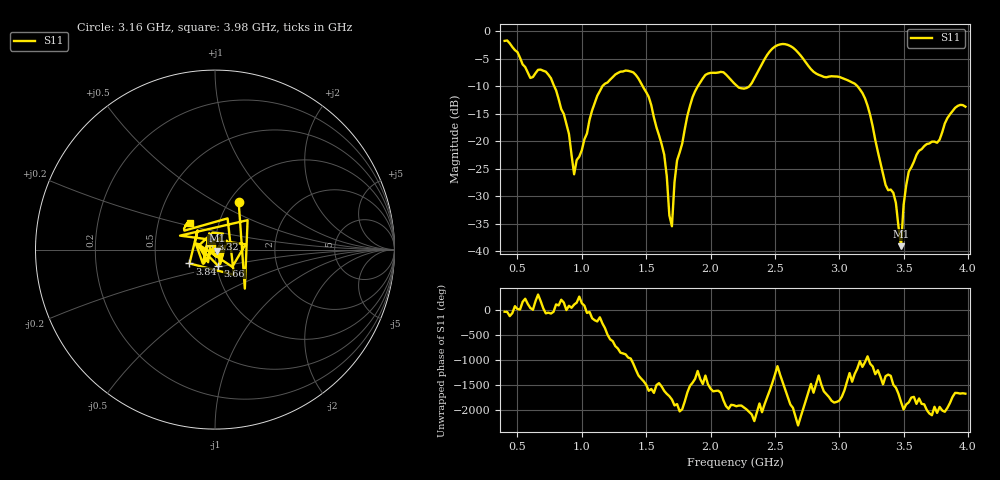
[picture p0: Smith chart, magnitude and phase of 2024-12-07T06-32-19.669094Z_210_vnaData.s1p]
!Created with skrf (http://scikit-rf.org).
# Hz S RI R 50.0
!freq ReS11 ImS11
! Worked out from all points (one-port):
!   180 points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, 400 MHz to 3.98 GHz, reference 50 ohm
!   lowest |S11| = -39.1 dB at 3.48 GHz (marker M1), VSWR 1.02, Z = 50.9 - j0.61 ohm
!   |S11| at or under -10 dB: 785.1 MHz to 1.16 GHz (374.8 MHz wide, 38.5 % of centre); 1.472 GHz to 1.902 GHz (429.3 MHz wide, 25.5 % of centre); 3.141 GHz to end of sweep (the widest 3 of 4)
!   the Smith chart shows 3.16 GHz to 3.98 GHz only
!   S11 on the Smith chart (normalised r, x): 3.16 GHz: 1.11, +0.64; 3.32 GHz: 0.95, +0.11; 3.66 GHz: 1.02, -0.18; 3.84 GHz: 0.74, -0.12; 3.98 GHz: 0.72, +0.23
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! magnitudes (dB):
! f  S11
! 400 MHz  -1.8
! 600 MHz  -8.5
! 740 MHz  -7.9
! 860 MHz  -15.1
! 940 MHz  -26.0
! 1.12 GHz  -11.8
! 1.3 GHz  -7.4
! 1.52 GHz  -12.0
! 1.64 GHz  -22.5
! 1.68 GHz  -33.5
! 1.7 GHz  -35.5
! 1.72 GHz  -27.4
! 1.76 GHz  -22.1
! 1.86 GHz  -12.0
! 1.96 GHz  -8.0
! 2.2 GHz  -9.9
! 2.5 GHz  -2.8
! 2.64 GHz  -3.0
! 3.1 GHz  -9.3
! 3.16 GHz  -10.6
! 3.32 GHz  -23.9
! 3.44 GHz  -31.2
! 3.48 GHz  -39.1
! 3.5 GHz  -31.6
! 3.54 GHz  -25.5
! 3.66 GHz  -20.9
! 3.84 GHz  -15.8
! 3.98 GHz  -13.7
